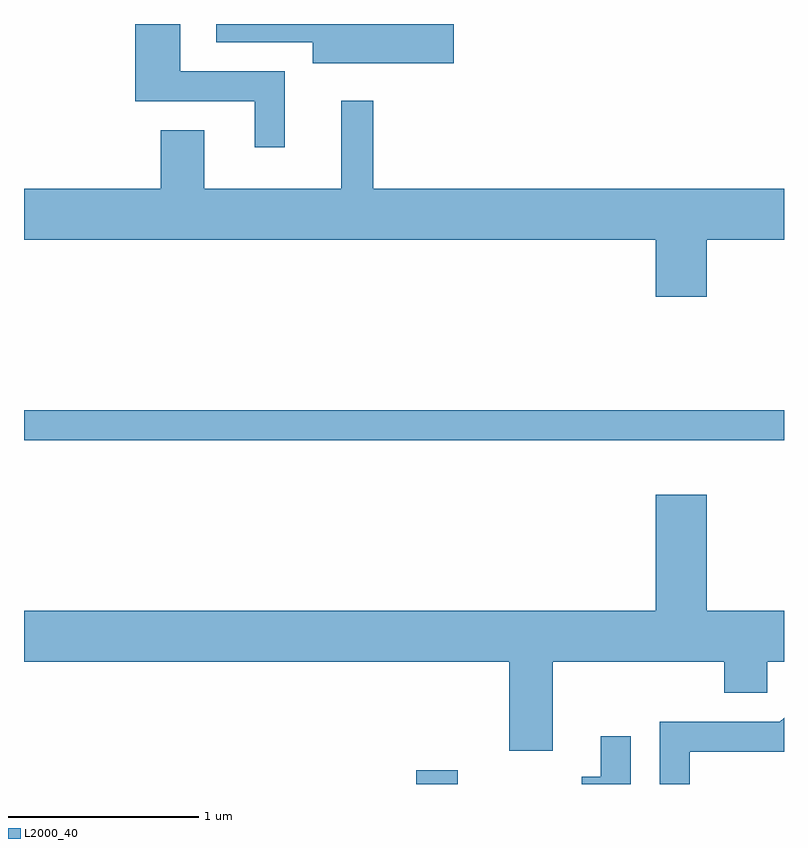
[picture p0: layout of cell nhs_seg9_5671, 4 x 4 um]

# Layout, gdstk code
import gdstk
lib = gdstk.Library(unit=1e-6, precision=1e-09)
def R(c, l, rs):  # rectangles x0, y0, x1, y1
    for r in rs: c.add(gdstk.rectangle(r[:2], r[2:], *l))
def P(c, l, *ps):  # polygons
    for p in ps: c.add(gdstk.Polygon(p, *l))
L2000_40 = (2000, 40)

nhs_seg9_5671 = lib.new_cell('nhs_seg9_5671')
R(nhs_seg9_5671, L2000_40, [(353.676,2064.432,353.894,2064.504), (351.611,2066.241,355.611,2066.399)])
P(nhs_seg9_5671, L2000_40, [(353.874,2068.432),(352.623,2068.432),(352.623,2068.336),(353.131,2068.336),(353.131,2068.226),(353.874,2068.226)],
  [(352.984,2068.184),(352.434,2068.184),(352.434,2068.432),(352.196,2068.432),(352.196,2068.026),(352.826,2068.026),(352.826,2067.783),(352.984,2067.783)],
  [(355.204,2067.296),(355.611,2067.296),(355.611,2067.564),(353.449,2067.564),(353.449,2068.028),(353.281,2068.028),(353.281,2067.564),(352.559,2067.564),(352.559,2067.874),(352.331,2067.874),(352.331,2067.564),(351.611,2067.564),(351.611,2067.296),(354.936,2067.296),(354.936,2066.996),(355.204,2066.996)],
  [(354.394,2065.076),(355.296,2065.076),(355.296,2064.911),(355.524,2064.911),(355.524,2065.076),(355.611,2065.076),(355.611,2065.344),(355.204,2065.344),(355.204,2065.954),(354.936,2065.954),(354.936,2065.344),(351.611,2065.344),(351.611,2065.076),(354.166,2065.076),(354.166,2064.606),(354.394,2064.606)],
  [(355.114,2064.601),(355.611,2064.601),(355.611,2064.781),(355.589,2064.759),(354.956,2064.759),(354.956,2064.432),(355.114,2064.432)],
  [(354.804,2064.683),(354.646,2064.683),(354.646,2064.469),(354.546,2064.469),(354.546,2064.432),(354.804,2064.432)])

lib.write_gds('nhs_seg9_5671.gds')
